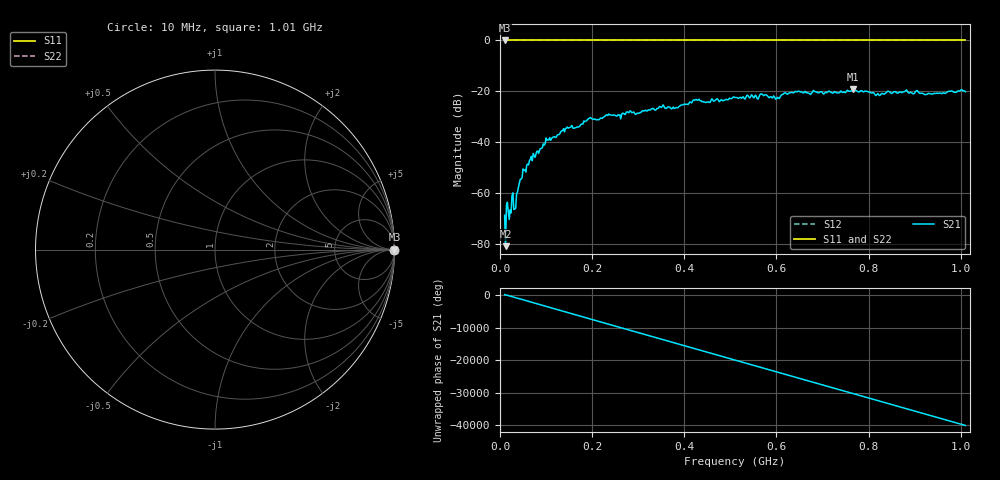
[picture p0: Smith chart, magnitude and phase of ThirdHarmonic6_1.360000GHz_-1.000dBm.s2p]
! 8/16/2025 3:21:27 PM
! C:\ANRITSUVNA\TEMP\TEMP.S2P
! CHANNEL.1
! TR.MEASUREMENT
! RAW.DATA
! RF.CORRECTION.OFF
! AVERAGING.OFF
! IF.BANDWIDTH: 5KHZ
! SWEEPTYPE:  FREQ.SWEEP(Linear)
! Reference Plane Port Info
! PORT:  PORT1  PORT2
! DISTANCE:  0  m  0  m
! TIME:  0  s  0  s
! PHASE.OFFSET:  0  deg.  0  deg.
! LOSS:  0  dB  0  dB
! REF.LOSS:  0  dB  0  dB
! REF.FREQ:  0  Hz  0  Hz
! Power Info
! POWER:  -20  dBm  -20  dBm
! EFF.POWER:  -20  dBm  -20  dBm
! SOURCE.ATTEN:  0  dB  0  dB
! TEST.ATTEN:  0  dB  0  dB
# GHZ S RI R 50.0
! FREQ.GHZ  S11RE  S11IM  S21RE  S21IM  S12RE  S12IM  S22RE  S22IM
!; PortSelection: Port_12
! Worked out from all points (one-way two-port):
!   501 points, 10 MHz to 1.01 GHz, reference 50 ohm
!   highest |S21| = -19.31 dB at 766 MHz (marker M1); lowest = -81.0 dB at 12 MHz (marker M2)
!   lowest |S11| = 0.0 dB at 10 MHz (marker M3)
!   |S11| at or under -10 dB: nowhere
!   |S22| runs from 0.0 to 0.0 dB; largest |S21 - S12| = 1.1
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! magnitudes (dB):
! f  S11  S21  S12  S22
! 10 MHz  0.0  -68.8  0.0  0.0
! 12 MHz  0.0  -81.0  0.0  0.0
! 16 MHz  0.0  -63.7  0.0  0.0
! 18 MHz  0.0  -67.6  0.0  0.0
! 22 MHz  0.0  -66.7  0.0  0.0
! 26 MHz  0.0  -61.1  0.0  0.0
! 34 MHz  0.0  -66.1  0.0  0.0
! 46 MHz  0.0  -54.6  0.0  0.0
! 68 MHz  0.0  -45.7  0.0  0.0
! 104 MHz  0.0  -39.2  0.0  0.0
! 178 MHz  0.0  -32.9  0.0  0.0
! 194 MHz  0.0  -30.6  0.0  0.0
! 344 MHz  0.0  -26.6  0.0  0.0
! 510 MHz  0.0  -22.5  0.0  0.0
! 568 MHz  0.0  -21.1  0.0  0.0
! 602 MHz  0.0  -22.4  0.0  0.0
! 616 MHz  0.0  -20.9  0.0  0.0
! 678 MHz  0.0  -20.4  0.0  0.0
! 766 MHz  0.0  -19.3  0.0  0.0
! 820 MHz  0.0  -20.9  0.0  0.0
! 844 MHz  0.0  -20.1  0.0  0.0
! 1.01 GHz  0.0  -20.2  0.0  0.0
